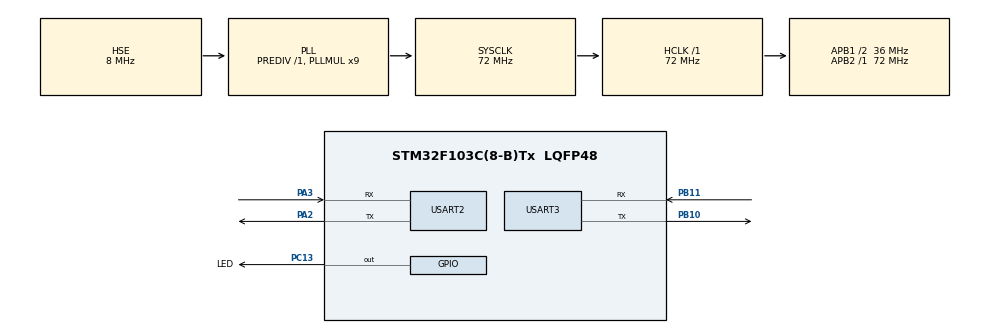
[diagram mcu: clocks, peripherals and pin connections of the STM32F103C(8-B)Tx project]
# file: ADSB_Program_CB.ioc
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Mcu.Family=STM32F1
Mcu.Name=STM32F103C(8-B)Tx
Mcu.Package=LQFP48
NVIC.PriorityGroup=NVIC_PRIORITYGROUP_4
PA13.Mode=Serial_Wire
PA13.Signal=SYS_JTMS-SWDIO
PA14.Mode=Serial_Wire
PA14.Signal=SYS_JTCK-SWCLK
PA2.Mode=Asynchronous
PA2.Signal=USART2_TX
PA3.Mode=Asynchronous
PA3.Signal=USART2_RX
PB10.Mode=Asynchronous
PB10.Signal=USART3_TX
PB11.Mode=Asynchronous
PB11.Signal=USART3_RX
PC13-TAMPER-RTC.GPIO_Label=LED
PC13-TAMPER-RTC.Signal=GPIO_Output
PD0-OSC_IN.Mode=HSE-External-Oscillator
PD0-OSC_IN.Signal=RCC_OSC_IN
PD1-OSC_OUT.Mode=HSE-External-Oscillator
PD1-OSC_OUT.Signal=RCC_OSC_OUT
ProjectManager.HeapSize=0x200
ProjectManager.StackSize=0x400
ProjectManager.TargetToolchain=STM32CubeIDE
RCC.AHBFreq_Value=72000000
RCC.APB1CLKDivider=RCC_HCLK_DIV2
RCC.APB1Freq_Value=36000000
RCC.APB1TimFreq_Value=72000000
RCC.APB2Freq_Value=72000000
RCC.APB2TimFreq_Value=72000000
RCC.HCLKFreq_Value=72000000
RCC.PLLMUL=RCC_PLL_MUL9
RCC.PLLSourceVirtual=RCC_PLLSOURCE_HSE
RCC.SYSCLKFreq_VALUE=72000000
RCC.SYSCLKSource=RCC_SYSCLKSOURCE_PLLCLK
RCC.USBFreq_Value=72000000
USART2.VirtualMode=VM_ASYNC
USART3.VirtualMode=VM_ASYNC
board=custom

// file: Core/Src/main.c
/* USER CODE BEGIN Header */
/**
  ******************************************************************************
  * @file           : main.c
  * @brief          : Main program body
  ******************************************************************************
  * @attention
  *
  * Copyright (c) 2022 STMicroelectronics.
  * All rights reserved.
  *
  * This software is licensed under terms that can be found in the LICENSE file
  * in the root directory of this software component.
  * If no LICENSE file comes with this software, it is provided AS-IS.
  *
  ******************************************************************************
  */
/* USER CODE END Header */
#include "main.h"

UART_HandleTypeDef huart2;
UART_HandleTypeDef huart3;

void SystemClock_Config(void);
static void MX_GPIO_Init(void);
static void MX_USART2_UART_Init(void);
static void MX_USART3_UART_Init(void);

/* USER CODE BEGIN 0 */
char bufferADSB[1024];

void send_uart(char *string){
	uint8_t len = strlen(string);
	HAL_UART_Transmit(&huart2, (uint8_t*)string, len, 2000);
}

/* USER CODE END 0 */

int main(void)
{

  /* MCU Configuration--------------------------------------------------------*/

  /* Reset of all peripherals, Initializes the Flash interface and the Systick. */
  HAL_Init();

  /* Configure the system clock */
  SystemClock_Config();

  /* Initialize all configured peripherals */
  MX_GPIO_Init();
  MX_USART2_UART_Init();
  MX_USART3_UART_Init();

  /* Infinite loop */
  while (1)
  {

    /* USER CODE BEGIN 3 */
	  HAL_GPIO_WritePin(LED_GPIO_Port, LED_Pin, GPIO_PIN_RESET);
	  HAL_Delay(300);
	  HAL_GPIO_WritePin(LED_GPIO_Port, LED_Pin, GPIO_PIN_SET);
	  HAL_Delay(300);

	  for(int i=0; i<256; i++)
	  	  {
	  		  bufferADSB[i] = HAL_UART_Receive(&huart3, bufferADSB, sizeof(bufferADSB), 10);
	  		  if(bufferADSB[i] == '\r\n')
	  			  break;
	  	  }
	  HAL_UART_Transmit(&huart2, bufferADSB, sizeof(bufferADSB), 10);

	  HAL_GPIO_WritePin(LED_GPIO_Port, LED_Pin, GPIO_PIN_RESET);
	  	  HAL_Delay(300);
	  	  HAL_GPIO_WritePin(LED_GPIO_Port, LED_Pin, GPIO_PIN_SET);
	  	  HAL_Delay(300);
//	  send_uart("Hello World");
  }
  /* USER CODE END 3 */
}

void SystemClock_Config(void)
{
  RCC_OscInitTypeDef RCC_OscInitStruct = {0};
  RCC_ClkInitTypeDef RCC_ClkInitStruct = {0};

  /** Initializes the RCC Oscillators according to the specified parameters
  * in the RCC_OscInitTypeDef structure.
  */
  RCC_OscInitStruct.OscillatorType = RCC_OSCILLATORTYPE_HSE;
  RCC_OscInitStruct.HSEState = RCC_HSE_ON;
  RCC_OscInitStruct.HSEPredivValue = RCC_HSE_PREDIV_DIV1;
  RCC_OscInitStruct.HSIState = RCC_HSI_ON;
  RCC_OscInitStruct.PLL.PLLState = RCC_PLL_ON;
  RCC_OscInitStruct.PLL.PLLSource = RCC_PLLSOURCE_HSE;
  RCC_OscInitStruct.PLL.PLLMUL = RCC_PLL_MUL9;
  if (HAL_RCC_OscConfig(&RCC_OscInitStruct) != HAL_OK)
  {
    Error_Handler();
  }

  /** Initializes the CPU, AHB and APB buses clocks
  */
  RCC_ClkInitStruct.ClockType = RCC_CLOCKTYPE_HCLK|RCC_CLOCKTYPE_SYSCLK
                              |RCC_CLOCKTYPE_PCLK1|RCC_CLOCKTYPE_PCLK2;
  RCC_ClkInitStruct.SYSCLKSource = RCC_SYSCLKSOURCE_PLLCLK;
  RCC_ClkInitStruct.AHBCLKDivider = RCC_SYSCLK_DIV1;
  RCC_ClkInitStruct.APB1CLKDivider = RCC_HCLK_DIV2;
  RCC_ClkInitStruct.APB2CLKDivider = RCC_HCLK_DIV1;

  if (HAL_RCC_ClockConfig(&RCC_ClkInitStruct, FLASH_LATENCY_2) != HAL_OK)
  {
    Error_Handler();
  }
}

static void MX_USART2_UART_Init(void)
{

  huart2.Instance = USART2;
  huart2.Init.BaudRate = 115200;
  huart2.Init.WordLength = UART_WORDLENGTH_8B;
  huart2.Init.StopBits = UART_STOPBITS_1;
  huart2.Init.Parity = UART_PARITY_NONE;
  huart2.Init.Mode = UART_MODE_TX_RX;
  huart2.Init.HwFlowCtl = UART_HWCONTROL_NONE;
  huart2.Init.OverSampling = UART_OVERSAMPLING_16;
  if (HAL_UART_Init(&huart2) != HAL_OK)
  {
    Error_Handler();
  }

}

static void MX_USART3_UART_Init(void)
{

  huart3.Instance = USART3;
  huart3.Init.BaudRate = 115200;
  huart3.Init.WordLength = UART_WORDLENGTH_8B;
  huart3.Init.StopBits = UART_STOPBITS_1;
  huart3.Init.Parity = UART_PARITY_NONE;
  huart3.Init.Mode = UART_MODE_TX_RX;
  huart3.Init.HwFlowCtl = UART_HWCONTROL_NONE;
  huart3.Init.OverSampling = UART_OVERSAMPLING_16;
  if (HAL_UART_Init(&huart3) != HAL_OK)
  {
    Error_Handler();
  }

}

static void MX_GPIO_Init(void)
{
  GPIO_InitTypeDef GPIO_InitStruct = {0};

  /* GPIO Ports Clock Enable */
  __HAL_RCC_GPIOC_CLK_ENABLE();
  __HAL_RCC_GPIOD_CLK_ENABLE();
  __HAL_RCC_GPIOA_CLK_ENABLE();
  __HAL_RCC_GPIOB_CLK_ENABLE();

  /*Configure GPIO pin Output Level */
  HAL_GPIO_WritePin(LED_GPIO_Port, LED_Pin, GPIO_PIN_RESET);

  /*Configure GPIO pin : LED_Pin */
  GPIO_InitStruct.Pin = LED_Pin;
  GPIO_InitStruct.Mode = GPIO_MODE_OUTPUT_PP;
  GPIO_InitStruct.Pull = GPIO_NOPULL;
  GPIO_InitStruct.Speed = GPIO_SPEED_FREQ_LOW;
  HAL_GPIO_Init(LED_GPIO_Port, &GPIO_InitStruct);

}

void Error_Handler(void)
{
  __disable_irq();
  while (1)
  {
  }
}
